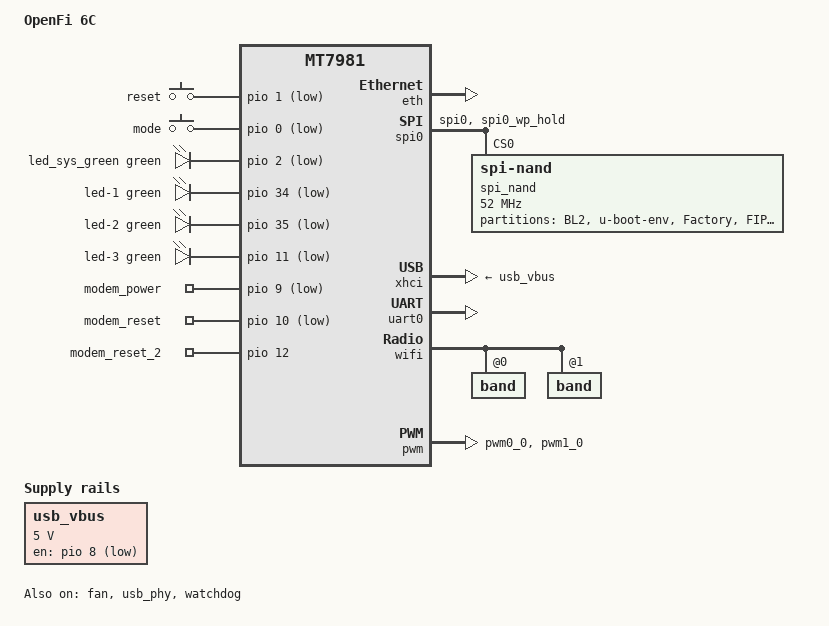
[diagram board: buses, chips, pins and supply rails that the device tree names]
// SPDX-License-Identifier: (GPL-2.0 OR MIT)

/dts-v1/;

#include <dt-bindings/gpio/gpio.h>
#include <dt-bindings/input/input.h>
#include <dt-bindings/leds/common.h>

#include "mt7981.dtsi"

/ {
	model = "OpenFi 6C";
	compatible = "openfi,6c", "mediatek,mt7981";

	aliases {
		led-boot = &led_sys_green;
		led-failsafe = &led_sys_green;
		led-running = &led_sys_green;
		led-upgrade = &led_sys_green;
		serial0 = &uart0;
	};

	chosen {
		stdout-path = "serial0:115200n8";
	};

	gpio-keys {
		compatible = "gpio-keys";

		reset {
			label = "reset";
			linux,code = <KEY_RESTART>;
			gpios = <&pio 1 GPIO_ACTIVE_LOW>;
		};

		mode {
			label = "mode";
			linux,input-type = <EV_SW>;
			linux,code = <BTN_0>;
			gpios = <&pio 0 GPIO_ACTIVE_LOW>;
			debounce-interval = <60>;
		};
	};

	gpio-leds {
		compatible = "gpio-leds";

		led_sys_green: led-0 {
			function = LED_FUNCTION_STATUS;
			color = <LED_COLOR_ID_GREEN>;
			gpios = <&pio 2 GPIO_ACTIVE_LOW>;
		};

		led-1 {
			function = LED_FUNCTION_LAN;
			color = <LED_COLOR_ID_GREEN>;
			gpios = <&pio 34 GPIO_ACTIVE_LOW>;
		};

		led-2 {
			function = LED_FUNCTION_WLAN_5GHZ;
			color = <LED_COLOR_ID_GREEN>;
			gpios = <&pio 35 GPIO_ACTIVE_LOW>;
			linux,default-trigger = "phy1tpt";
		};

		led-3 {
			function = LED_FUNCTION_MOBILE;
			color = <LED_COLOR_ID_GREEN>;
			gpios = <&pio 11 GPIO_ACTIVE_LOW>;
		};
	};

	gpio-export {
		compatible = "gpio-export";

		modem_power {
			gpio-export,name = "modem_power";
			gpio-export,output = <1>;
			gpios = <&pio 9 GPIO_ACTIVE_LOW>;
		};

		modem_reset {
			gpio-export,name = "modem_reset";
			gpio-export,output = <1>;
			gpios = <&pio 10 GPIO_ACTIVE_LOW>;
		};

		modem_reset_2 {
			gpio-export,name = "modem_reset_2";
			gpio-export,output = <0>;
			gpios = <&pio 12 GPIO_ACTIVE_HIGH>;
		};
	};

	usb_vbus: regulator-usb-vbus {
		compatible = "regulator-fixed";
		regulator-name = "usb_vbus";
		regulator-min-microvolt = <5000000>;
		regulator-max-microvolt = <5000000>;
		gpio = <&pio 8 GPIO_ACTIVE_LOW>;
		regulator-boot-on;
	};
};

&fan {
	pwms = <&pwm 0 40000 0>;
	status = "okay";
};

&eth {
	pinctrl-names = "default";
	pinctrl-0 = <&mdio_pins>;
	status = "okay";

	gmac1: mac@1 {
		compatible = "mediatek,eth-mac";
		reg = <1>;
		phy-mode = "gmii";
		phy-handle = <&int_gbe_phy>;
		nvmem-cells = <&macaddr_factory_4 0>;
		nvmem-cell-names = "mac-address";
	};
};

&spi0 {
	pinctrl-names = "default";
	pinctrl-0 = <&spi0_flash_pins>;
	status = "okay";

	spi_nand: flash@0 {
		#address-cells = <1>;
		#size-cells = <1>;
		compatible = "spi-nand";
		reg = <0>;
		spi-max-frequency = <52000000>;

		spi-cal-enable;
		spi-cal-mode = "read-data";
		spi-cal-datalen = <7>;
		spi-cal-data = /bits/ 8 <0x53 0x50 0x49 0x4E 0x41 0x4E 0x44>;
		spi-cal-addrlen = <5>;
		spi-cal-addr = /bits/ 32 <0x0 0x0 0x0 0x0 0x0>;

		spi-tx-bus-width = <4>;
		spi-rx-bus-width = <4>;
		mediatek,nmbm;
		mediatek,bmt-max-ratio = <1>;
		mediatek,bmt-max-reserved-blocks = <64>;

		partitions {
			compatible = "fixed-partitions";
			#address-cells = <1>;
			#size-cells = <1>;

			partition@0 {
				label = "BL2";
				reg = <0x00000 0x0100000>;
				read-only;
			};

			partition@100000 {
				label = "u-boot-env";
				reg = <0x0100000 0x0080000>;
			};

			factory: partition@180000 {
				label = "Factory";
				reg = <0x180000 0x0200000>;
				read-only;

				nvmem-layout {
					compatible = "fixed-layout";
					#address-cells = <1>;
					#size-cells = <1>;

					eeprom_factory_0: eeprom@0 {
						reg = <0x0 0x1000>;
					};

					macaddr_factory_4: macaddr@4 {
						compatible = "mac-base";
						reg = <0x4 0x6>;
						#nvmem-cell-cells = <1>;
					};
				};
			};

			partition@380000 {
				label = "FIP";
				reg = <0x380000 0x0200000>;
				read-only;
			};

			partition@580000 {
				label = "hw";
				reg = <0x0580000 0x0080000>;
				read-only;
			};

			partition@600000 {
				label = "cfg";
				reg = <0x0600000 0x0080000>;
				read-only;
			};

			partition@680000 {
				label = "ubi";
				reg = <0x680000 0xe980000>;
			};
		};
	};
};

&pio {
	spi0_flash_pins: spi0-pins {
		mux {
			function = "spi";
			groups = "spi0", "spi0_wp_hold";
		};
	};

	pwm_pins: pwm-pins {
		mux {
			function = "pwm";
			groups = "pwm0_0", "pwm1_0";
		};
	};
};

&usb_phy {
	status = "okay";
};

&xhci {
	status = "okay";
	vbus-supply = <&usb_vbus>;
};

&uart0 {
	status = "okay";
};

&watchdog {
	status = "okay";
};

&wifi {
	#address-cells = <1>;
	#size-cells = <0>;
	nvmem-cells = <&eeprom_factory_0>;
	nvmem-cell-names = "eeprom";
	status = "okay";

	band@0 {
		reg = <0>;
		nvmem-cells = <&macaddr_factory_4 2>;
		nvmem-cell-names = "mac-address";
	};

	band@1 {
		reg = <1>;
		nvmem-cells = <&macaddr_factory_4 3>;
		nvmem-cell-names = "mac-address";
	};
};

&pwm {
	pinctrl-names = "default";
	pinctrl-0 = <&pwm_pins>;
	status = "okay";
};
